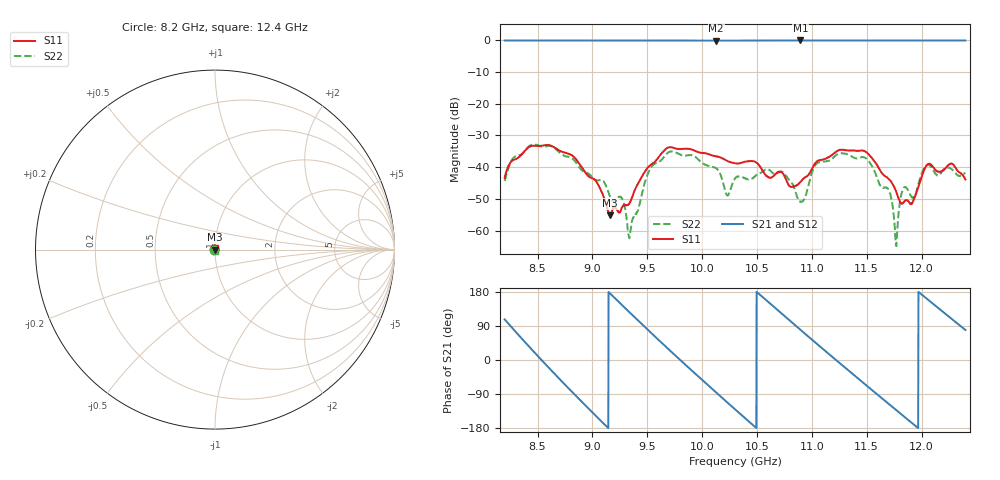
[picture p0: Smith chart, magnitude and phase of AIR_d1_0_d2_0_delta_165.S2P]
!Agilent Technologies,E5071C,MY46631589,B.13.30
!Date: Sun May 30 22:02:37 2021
!Data & Calibration Information:
!Freq	S11:SOLT2(ON)	S21:SOLT2(ON)	S12:SOLT2(ON)	S22:SOLT2(ON)
!PortZ  Port1:50+j0  Port2:50+j0
!Above PortZ is port z conversion or system Z0 setting when saving the data.
!When reading, reference impedance value at option line is always used.
# Hz S MA R 50
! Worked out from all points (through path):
!   1601 points, 8.2 GHz to 12.4 GHz, reference 50 ohm
!   highest |S21| = -0.02 dB at 10.9 GHz (marker M1); lowest = -0.1 dB at 10.13 GHz (marker M2)
!   lowest |S11| = -55.2 dB at 9.161 GHz (marker M3), VSWR 1.00, Z = 50.2 + j0.00274 ohm
!   |S11| at or under -10 dB: start of sweep to end of sweep
!   |S22| runs from -64.9 to -32.8 dB; largest |S21 - S12| = 0.0061
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8.2e9  0.006791 143.2  0.9957 107.2  0.9951 107.4  0.006052 -124.7
8.349625e9  0.01543 133.0  0.9955 58.7  0.995 58.8  0.01579 159.2
8.538625e9  0.02172 79.6  0.9956 -0.7  0.9949 -0.6  0.02111 92.4
8.7355e9  0.0172 23.5  0.9955 -60.7  0.9948 -60.4  0.01536 20.3
8.900875e9  0.01012 -4.5  0.9955 -109.6  0.9949 -109.4  0.00904 -51.4
9.16075e9  0.001734 0.9  0.9953 175.7  0.9949 175.8  0.003432 179.5
9.33925e9  0.002699 115.8  0.9947 125.7  0.9945 125.7  0.0007872 -168.4
9.60175e9  0.01418 101.6  0.9946 53.4  0.9935 53.7  0.0119 158.9
9.8485e9  0.01956 55.3  0.9931 -12.6  0.9917 -12.4  0.01522 69.7
1.012938e10  0.01476 -29.8  0.9917 -86.1  0.9902 -85.9  0.009582 -32.4
1.022912e10  0.01252 -87.8  0.9919 -111.8  0.9905 -111.6  0.003596 -115.4
1.03e10  0.0115 -132.1  0.9922 -130.0  0.9908 -129.8  0.006607 -179.6
1.057038e10  0.007839 154.8  0.9952 161.3  0.9945 161.6  0.008992 147.8
1.089588e10  0.005843 95.4  0.9975 79.8  0.997 80.1  0.002844 151.8
1.100088e10  0.009357 109.2  0.997 53.8  0.9968 54.1  0.00823 149.1
1.130538e10  0.01855 29.4  0.9961 -20.7  0.9957 -20.4  0.01626 104.7
1.151275e10  0.0163 -14.1  0.9961 -70.8  0.9956 -70.5  0.01273 41.2
1.170175e10  0.006466 -60.3  0.9962 -116.1  0.9957 -115.8  0.004281 -35.0
1.177e10  0.004029 -109.3  0.9962 -132.4  0.9956 -132.1  0.0005668 -131.4
1.1833e10  0.002756 164.4  0.9961 -147.3  0.9957 -147.1  0.004539 154.6
1.2022e10  0.008851 92.2  0.9961 167.9  0.9958 168.2  0.009475 77.0
1.24e10  0.006397 93.9  0.9964 79.3  0.9953 79.6  0.008117 -109.3
